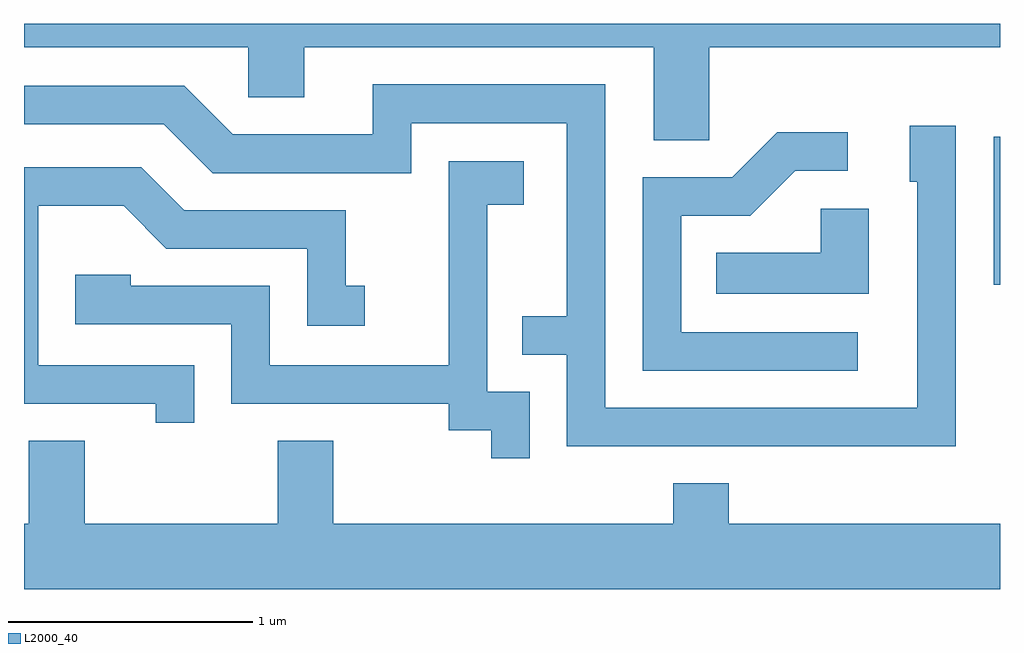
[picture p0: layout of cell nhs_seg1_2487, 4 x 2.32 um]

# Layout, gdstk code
import gdstk
lib = gdstk.Library(unit=1e-6, precision=1e-09)
def R(c, l, rs):  # rectangles x0, y0, x1, y1
    for r in rs: c.add(gdstk.rectangle(r[:2], r[2:], *l))
def P(c, l, *ps):  # polygons
    for p in ps: c.add(gdstk.Polygon(p, *l))
L2000_40 = (2000, 40)

nhs_seg1_2487 = lib.new_cell('nhs_seg1_2487')
R(nhs_seg1_2487, L2000_40, [(265.586,858.643,265.611,859.249)])
P(nhs_seg1_2487, L2000_40, [(264.419,859.616),(265.611,859.616),(265.611,859.712),(261.611,859.712),(261.611,859.616),(262.531,859.616),(262.531,859.411),(262.759,859.411),(262.759,859.616),(264.191,859.616),(264.191,859.236),(264.419,859.236)],
  [(265.429,859.294),(265.241,859.294),(265.241,859.066),(265.271,859.066),(265.271,858.139),(263.994,858.139),(263.994,859.464),(263.041,859.464),(263.041,859.259),(262.467,859.259),(262.267,859.459),(261.611,859.459),(261.611,859.301),(262.184,859.301),(262.384,859.101),(263.199,859.101),(263.199,859.306),(263.836,859.306),(263.836,858.514),(263.653,858.514),(263.653,858.356),(263.836,858.356),(263.836,857.981),(265.429,857.981)],
  [(265.028,858.449),(264.304,858.449),(264.304,858.926),(264.587,858.926),(264.772,859.111),(264.988,859.111),(264.988,859.269),(264.699,859.269),(264.514,859.084),(264.146,859.084),(264.146,858.291),(265.028,858.291)],
  [(263.684,858.204),(263.509,858.204),(263.509,858.971),(263.659,858.971),(263.659,859.149),(263.351,859.149),(263.351,858.314),(262.619,858.314),(262.619,858.639),(262.049,858.639),(262.049,858.684),(261.821,858.684),(261.821,858.481),(262.461,858.481),(262.461,858.156),(263.351,858.156),(263.351,858.046),(263.526,858.046),(263.526,857.933),(263.684,857.933)],
  [(262.309,858.314),(261.669,858.314),(261.669,858.966),(262.019,858.966),(262.194,858.791),(262.771,858.791),(262.771,858.476),(263.008,858.476),(263.008,858.639),(262.929,858.639),(262.929,858.949),(262.267,858.949),(262.092,859.124),(261.611,859.124),(261.611,858.156),(262.151,858.156),(262.151,858.078),(262.309,858.078)],
  [(265.074,858.954),(264.876,858.954),(264.876,858.774),(264.448,858.774),(264.448,858.606),(265.074,858.606)],
  [(265.611,857.664),(264.499,857.664),(264.499,857.829),(264.271,857.829),(264.271,857.664),(262.879,857.664),(262.879,858.004),(262.651,858.004),(262.651,857.664),(261.859,857.664),(261.859,858.004),(261.631,858.004),(261.631,857.664),(261.611,857.664),(261.611,857.396),(265.611,857.396)])

lib.write_gds('nhs_seg1_2487.gds')
